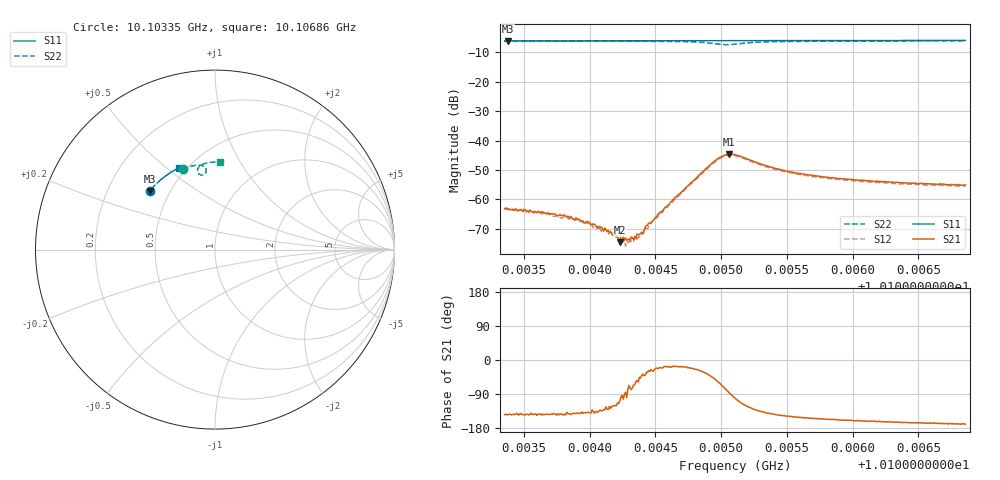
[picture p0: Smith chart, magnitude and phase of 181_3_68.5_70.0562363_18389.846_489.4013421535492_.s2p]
#  HZ  S  RI  R  50.00
! Rohde & Schwarz Vector Network Analyzer
! Rohde-Schwarz,ZNB20-2Port,1311601062101988,3.16
! Created: UTC 3/20/2024, 5:11:51 PM
! freq[Hz]  re:S11  im:S11  re:S21  im:S21  re:S12  im:S12  re:S22  im:S22
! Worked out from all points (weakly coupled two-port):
!   401 points, 10.10335 GHz to 10.10686 GHz, reference 50 ohm
!   highest |S21| = -44.64 dB at 10.10506 GHz (marker M1); lowest = -74.5 dB at 10.10423 GHz (marker M2)
!   lowest |S11| = -6.2 dB at 10.10338 GHz (marker M3), VSWR 2.91, Z = 19.3 + j16.6 ohm
!   |S11| at or under -10 dB: nowhere
!   |S22| runs from -7.5 to -6.2 dB; largest |S21 - S12| = 0.00063
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1.0103354e10  -0.3648 0.3258  -0.000568 -0.00041  -0.000507 -0.000431  -0.1786 0.4468
1.010338e10  -0.3637 0.3267  -0.000559 -0.000404  -0.000501 -0.000447  -0.1772 0.4475
1.0103661e10  -0.3527 0.3397  -0.000482 -0.000352  -0.000418 -0.000371  -0.1595 0.4549
1.0103792e10  -0.3473 0.3458  -0.000431 -0.000319  -0.000374 -0.000312  -0.1509 0.4578
1.0103941e10  -0.3411 0.3525  -0.000314 -0.000287  -0.000292 -0.0003  -0.141 0.4614
1.0103994e10  -0.3391 0.3548  -0.000309 -0.000278  -0.000273 -0.00027  -0.1374 0.4624
1.0104134e10  -0.3331 0.3609  -0.000186 -0.000221  -0.000165 -0.000242  -0.1275 0.4655
1.010423e10  -0.329 0.365  -5.94e-05 -0.000179  -3.76e-05 -0.000215  -0.1202 0.4672
1.0104274e10  -0.327 0.367  1.75e-05 -0.000221  1.58e-05 -0.000161  -0.117 0.4678
1.0104344e10  -0.3239 0.3698  9.98e-05 -0.000213  0.000126 -0.000193  -0.1114 0.4691
1.0104396e10  -0.3219 0.3722  0.00021 -0.000182  0.000208 -0.000162  -0.1071 0.4699
1.010444e10  -0.32 0.3738  0.000307 -0.000197  0.000294 -0.000131  -0.1033 0.4703
1.0104484e10  -0.3178 0.3757  0.000387 -0.000221  0.000416 -0.000137  -0.0994 0.4708
1.0104528e10  -0.3158 0.3775  0.000531 -0.000207  0.000524 -0.000155  -0.0953 0.4712
1.0104931e10  -0.2971 0.3933  0.00292 -0.00291  0.00304 -0.00246  -0.049 0.4418
1.0105001e10  -0.294 0.3958  0.00224 -0.00481  0.00258 -0.00441  -0.0562 0.4221
1.0105062e10  -0.2912 0.398  0.000362 -0.00585  0.000901 -0.00557  -0.0759 0.4153
1.0105106e10  -0.2892 0.3997  -0.00108 -0.00562  -0.000562 -0.0055  -0.0886 0.4209
1.0105395e10  -0.2754 0.4105  -0.00277 -0.00209  -0.00246 -0.00219  -0.0821 0.4676
1.0105693e10  -0.2606 0.4209  -0.00228 -0.00113  -0.0021 -0.00128  -0.0563 0.4796
1.0106279e10  -0.2306 0.4397  -0.0019 -0.000556  -0.00176 -0.000715  -0.0131 0.487
1.0106858e10  -0.1995 0.4561  -0.00175 -0.000322  -0.0016 -0.000479  0.0259 0.4886
